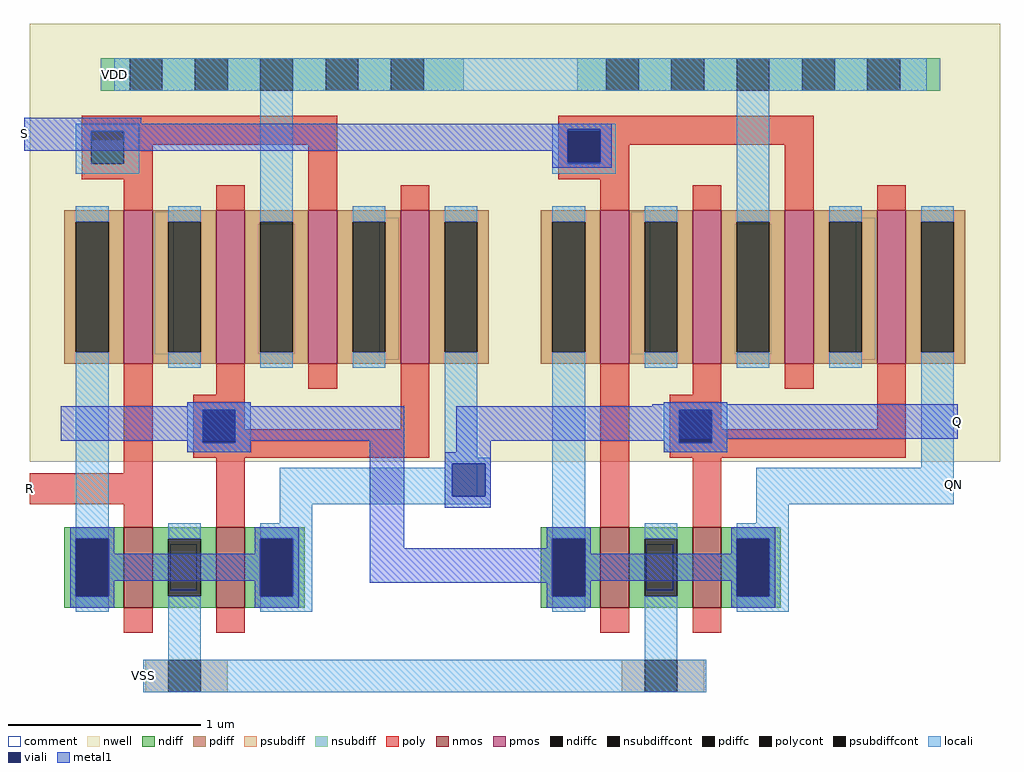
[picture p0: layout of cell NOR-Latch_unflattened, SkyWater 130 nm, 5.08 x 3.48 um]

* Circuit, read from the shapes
.subckt NOR-Latch_unflattened R QN VDD VSS Q S
XM1 VSS R Q VSS sky130_fd_pr__nfet_01v8 w=0.42 l=0.15
XM2 Q QN VSS VSS sky130_fd_pr__nfet_01v8 w=0.42 l=0.15
XM3 VSS S QN VSS sky130_fd_pr__nfet_01v8 w=0.42 l=0.15
XM4 QN Q VSS VSS sky130_fd_pr__nfet_01v8 w=0.42 l=0.15
XM5 n1 R Q VDD sky130_fd_pr__pfet_01v8 w=0.8 l=0.15
XM6 VDD QN n1 VDD sky130_fd_pr__pfet_01v8 w=0.8 l=0.15
XM7 n2 R VDD VDD sky130_fd_pr__pfet_01v8 w=0.8 l=0.15
XM8 Q QN n2 VDD sky130_fd_pr__pfet_01v8 w=0.8 l=0.15
XM9 n3 S QN VDD sky130_fd_pr__pfet_01v8 w=0.8 l=0.15
XM10 VDD Q n3 VDD sky130_fd_pr__pfet_01v8 w=0.8 l=0.15
XM11 n4 S VDD VDD sky130_fd_pr__pfet_01v8 w=0.8 l=0.15
XM12 QN Q n4 VDD sky130_fd_pr__pfet_01v8 w=0.8 l=0.15
.ends

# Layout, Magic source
magic
tech sky130A
<< poly >>
rect 0 98 64 114
<< locali >>
rect 44 313 467 330
rect 27 270 57 287
rect 216 119 240 122
rect 216 102 220 119
rect 237 102 240 119
rect 216 98 240 102
rect 464 98 481 118
rect 59 0 352 17
<< viali >>
rect 280 276 297 293
rect 220 102 237 119
<< metal1 >>
rect -3 296 58 299
rect -3 293 303 296
rect -3 282 280 293
rect 272 276 280 282
rect 297 276 303 293
rect 272 273 303 276
rect 42 131 195 149
rect 177 75 195 131
rect 222 131 264 149
rect 324 132 483 150
rect 222 125 240 131
rect 216 119 240 125
rect 216 102 220 119
rect 237 102 240 119
rect 216 96 240 102
rect 177 57 269 75
use NOR  NOR_0 ../NOR
transform 1 0 4 0 1 118
box -4 -118 253 230
use NOR  NOR_1 ../NOR
transform 1 0 252 0 1 118
box -4 -118 253 230
<< labels >>
rlabel poly 0 98 0 114 7 R
port 1 w
rlabel metal1 -3 283 -3 299 7 S
port 7 w
rlabel locali 44 313 44 330 7 VDD
port 4 w
rlabel locali 481 98 481 118 3 QN
port 2 e
rlabel metal1 483 132 483 150 3 Q
port 6 e
rlabel locali 59 0 59 17 7 VSS
port 5 w
<< end >>

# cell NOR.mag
magic
tech sky130A
<< nwell >>
rect -4 2 253 230
<< nmos >>
rect 45 -74 60 -32
rect 93 -74 108 -32
<< pmos >>
rect 45 53 60 133
rect 93 53 108 133
rect 141 53 156 133
rect 189 53 204 133
<< ndiff >>
rect 14 -38 45 -32
rect 14 -68 20 -38
rect 37 -68 45 -38
rect 14 -74 45 -68
rect 60 -38 93 -32
rect 60 -68 68 -38
rect 85 -68 93 -38
rect 60 -74 93 -68
rect 108 -38 139 -32
rect 108 -68 116 -38
rect 133 -68 139 -38
rect 108 -74 139 -68
<< pdiff >>
rect 14 127 45 133
rect 14 59 20 127
rect 37 59 45 127
rect 14 53 45 59
rect 60 127 93 133
rect 60 59 68 127
rect 85 59 93 127
rect 60 53 93 59
rect 108 127 141 133
rect 108 59 116 127
rect 133 59 141 127
rect 108 53 141 59
rect 156 127 189 133
rect 156 59 164 127
rect 181 59 189 127
rect 156 53 189 59
rect 204 127 235 133
rect 204 59 212 127
rect 229 59 235 127
rect 204 53 235 59
<< ndiffc >>
rect 20 -68 37 -38
rect 68 -68 85 -38
rect 116 -68 133 -38
<< pdiffc >>
rect 20 59 37 127
rect 68 59 85 127
rect 116 59 133 127
rect 164 59 181 127
rect 212 59 229 127
<< psubdiff >>
rect 56 -118 68 -101
rect 85 -118 99 -101
<< nsubdiff >>
rect 33 195 48 212
rect 65 195 82 212
rect 99 195 116 212
rect 133 195 150 212
rect 167 195 184 212
rect 201 195 222 212
<< psubdiffcont >>
rect 68 -118 85 -101
<< nsubdiffcont >>
rect 48 195 65 212
rect 82 195 99 212
rect 116 195 133 212
rect 150 195 167 212
rect 184 195 201 212
<< poly >>
rect 23 174 156 182
rect 23 157 28 174
rect 45 167 156 174
rect 45 157 60 167
rect 23 149 60 157
rect 45 133 60 149
rect 93 133 108 146
rect 141 133 156 167
rect 189 133 204 146
rect 45 -32 60 53
rect 93 37 108 53
rect 141 40 156 53
rect 81 29 108 37
rect 81 12 86 29
rect 103 19 108 29
rect 189 19 204 53
rect 103 12 204 19
rect 81 4 204 12
rect 93 -32 108 4
rect 45 -87 60 -74
rect 93 -87 108 -74
<< polycont >>
rect 28 157 45 174
rect 86 12 103 29
<< locali >>
rect 40 195 48 212
rect 65 195 82 212
rect 99 195 116 212
rect 133 195 150 212
rect 167 195 184 212
rect 201 195 215 212
rect 20 174 53 178
rect 20 157 28 174
rect 45 157 53 174
rect 20 152 53 157
rect 20 127 37 135
rect 20 -38 37 59
rect 68 127 85 135
rect 68 51 85 59
rect 116 127 133 195
rect 116 51 133 59
rect 164 127 181 135
rect 164 51 181 59
rect 212 127 229 135
rect 78 29 111 33
rect 78 12 86 29
rect 103 12 111 29
rect 78 7 111 12
rect 212 -1 229 59
rect 126 -20 229 -1
rect 126 -30 143 -20
rect 20 -76 37 -68
rect 68 -38 85 -30
rect 68 -101 85 -68
rect 116 -38 143 -30
rect 133 -68 143 -38
rect 116 -76 143 -68
rect 56 -118 68 -101
rect 85 -118 99 -101
<< viali >>
rect 86 12 103 29
rect 20 -68 37 -38
rect 116 -68 133 -38
<< metal1 >>
rect 78 31 111 33
rect 12 29 111 31
rect 12 13 86 29
rect 78 12 86 13
rect 103 12 111 29
rect 78 7 111 12
rect 17 -38 40 -32
rect 17 -68 20 -38
rect 37 -46 40 -38
rect 113 -38 136 -32
rect 113 -46 116 -38
rect 37 -60 116 -46
rect 37 -68 40 -60
rect 17 -74 40 -68
rect 113 -68 116 -60
rect 133 -68 136 -38
rect 113 -74 136 -68
<< comment >>
rect 61 58 71 132
rect 115 58 134 126
rect 178 55 188 129
rect 69 -65 83 -41
<< labels >>
rlabel locali 40 195 40 212 7 VDD
port 1 w
rlabel locali 229 -20 229 -1 3 Q
port 7 e
rlabel metal1 12 13 12 31 7 B
port 6 w
rlabel locali 20 152 20 178 7 A
port 8 w
rlabel locali 56 -118 56 -101 7 VSS
port 4 w
<< end >>
